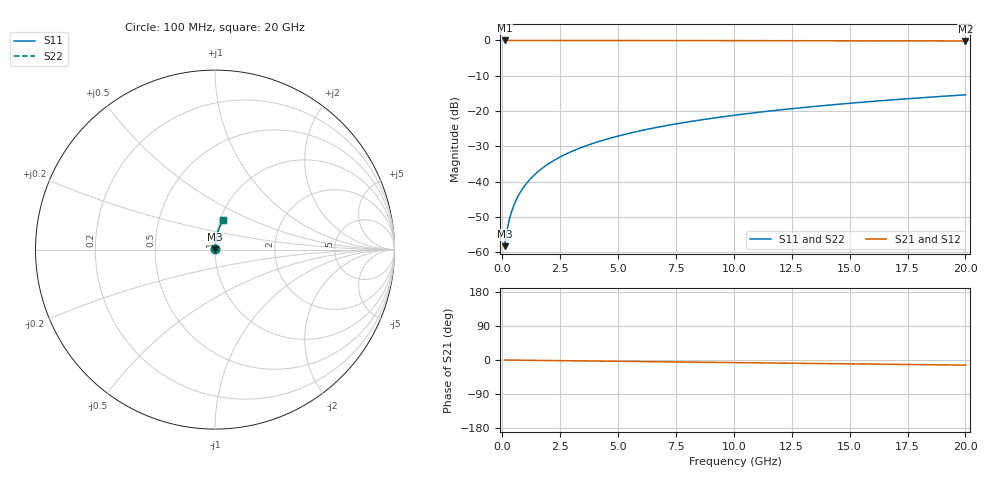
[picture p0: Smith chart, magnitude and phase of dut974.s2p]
! Touchstone file exported from HFSS 2026.1.0
!  File:  C:/ffzhzh/LocalFiles/Ansys_Project_Files/temp_train_TMRDL_974_1783159096_51560.aedt
!  Generated:  05:59:24 PM Jul  4, 2026
!  Design:  TMRDL
!  Project:  temp_train_TMRDL_974_1783159096_51560
! Variables:
!  h_bsmrdl = 2um
!  h_ox = 20um
!  h_rdl = 5um
!  h_sub = 80um
!  h_tmrdl = 5.75um
!  h_tsv = 80um
!  h_via = 3um
!  l_bsmrdl = 300um
!  l_sub = 534.38um
!  l_tmrdl = 134.38um
!  m_sub = 200um
!  pitch = 50.87um
!  r_tsv = 6um
!  s_tmrdl = 10um
!  w_bsmrdl = 18um
!  w_sub = 500um
!  w_tmrdl = 11.76um
!  x_tsv_center1 = 140.26um
!  x_tsv_center2 = 458.26um
!  x_tsv_center3 = 604.4um
!  x_tsv_center4 = 922.4um
!  x_tsv_center5 = 1068.54um
!  x_tsv_center6 = 1386.54um
# GHz S MA R 50.000000
! Terminal data exported
! Port[1] = TM_RDL1_1_T1
! Port[2] = TM_RDL1_1_T2
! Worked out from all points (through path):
!   200 points, 100 MHz to 20 GHz, reference 50 ohm
!   highest |S21| = -0.01 dB at 100 MHz (marker M1); lowest = -0.2 dB at 20 GHz (marker M2)
!   group delay of S21, straight-line fit = 1.87 ps
!   lowest |S11| = -58.3 dB at 100 MHz (marker M3), VSWR 1.00, Z = 50.1 + j0.0925 ohm
!   |S11| at or under -10 dB: start of sweep to end of sweep
!   |S22| runs from -58.3 to -15.4 dB; largest |S21 - S12| = 2.1e-15
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0.1  0.001221 49.1  0.9992 -0.1  0.9992 -0.1  0.001221 49.1
! Gamma 0 0 0 0
! Port Impedance 50 0 50 0
0.2  0.002014 66.0  0.9992 -0.1  0.9992 -0.1  0.002014 66.0
0.3  0.002876 72.9  0.9992 -0.2  0.9992 -0.2  0.002876 72.9
0.4  0.003754 76.6  0.9991 -0.3  0.9991 -0.3  0.003754 76.6
0.5  0.004637 78.8  0.9991 -0.4  0.9991 -0.4  0.004637 78.8
0.7  0.006407 81.4  0.9991 -0.5  0.9991 -0.5  0.006407 81.4
0.8  0.007293 82.2  0.999 -0.6  0.999 -0.6  0.007293 82.2
1  0.009069 83.3  0.999 -0.7  0.999 -0.7  0.009069 83.3
1.2  0.01085 84.0  0.999 -0.8  0.999 -0.8  0.01085 84.0
1.4  0.01262 84.5  0.9989 -1.0  0.9989 -1.0  0.01262 84.5
1.7  0.01529 84.9  0.9988 -1.2  0.9988 -1.2  0.01529 84.9
2  0.01795 85.1  0.9987 -1.4  0.9987 -1.4  0.01795 85.1
2.7  0.02415 85.2  0.9985 -1.9  0.9985 -1.9  0.02415 85.2
3.5  0.0312 85.0  0.9981 -2.4  0.9981 -2.4  0.0312 85.0
4.2  0.03732 84.7  0.9978 -2.9  0.9978 -2.9  0.03732 84.7
5  0.04428 84.3  0.9973 -3.5  0.9973 -3.5  0.04428 84.3
6.8  0.0598 83.3  0.9961 -4.7  0.9961 -4.7  0.0598 83.3
8.3  0.07261 82.4  0.995 -5.7  0.995 -5.7  0.07261 82.4
10.1  0.08788 81.4  0.9935 -6.9  0.9935 -6.9  0.08788 81.4
13.4  0.1156 79.4  0.9903 -9.1  0.9903 -9.1  0.1156 79.4
16.7  0.1429 77.3  0.9864 -11.3  0.9864 -11.3  0.1429 77.3
20  0.1697 75.3  0.9818 -13.5  0.9818 -13.5  0.1697 75.3
